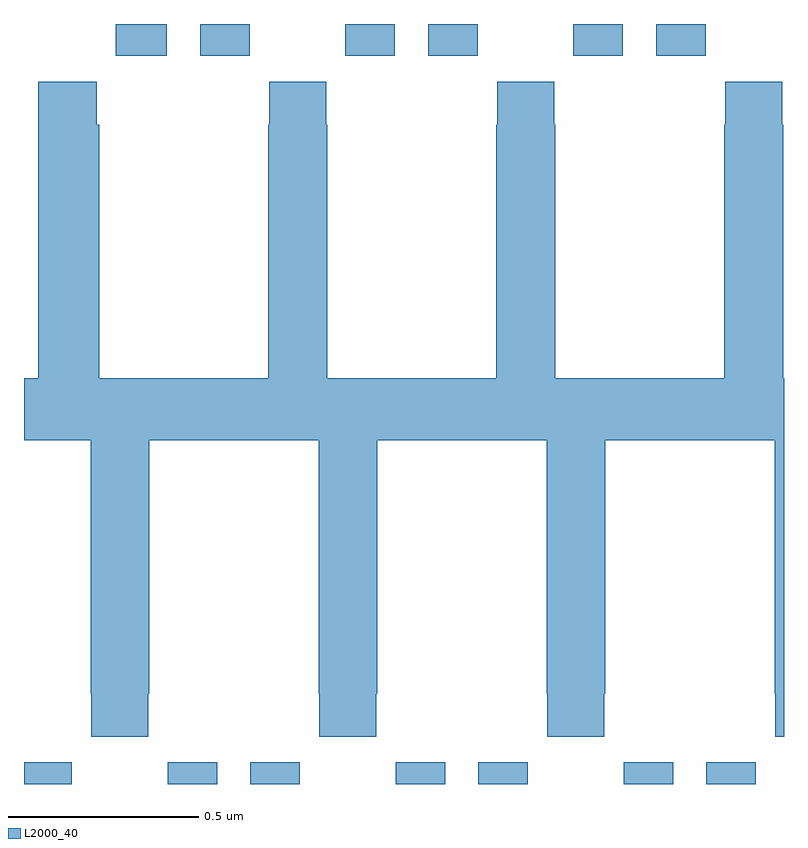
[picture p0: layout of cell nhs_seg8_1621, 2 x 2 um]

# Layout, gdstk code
import gdstk
lib = gdstk.Library(unit=1e-6, precision=1e-09)
def R(c, l, rs):  # rectangles x0, y0, x1, y1
    for r in rs: c.add(gdstk.rectangle(r[:2], r[2:], *l))
def P(c, l, *ps):  # polygons
    for p in ps: c.add(gdstk.Polygon(p, *l))
L2000_40 = (2000, 40)

nhs_seg8_1621 = lib.new_cell('nhs_seg8_1621')
R(nhs_seg8_1621, L2000_40, [(132,1144.9,132.126,1144.957), (132.378,1144.9,132.508,1144.957), (132.596,1144.9,132.726,1144.957), (132.978,1144.9,133.108,1144.957), (133.196,1144.9,133.326,1144.957), (133.578,1144.9,133.708,1144.957), (133.796,1144.9,133.926,1144.957), (132.242,1146.816,132.376,1146.9), (132.464,1146.816,132.594,1146.9), (132.846,1146.816,132.976,1146.9), (133.064,1146.816,133.194,1146.9), (133.446,1146.816,133.576,1146.9), (133.664,1146.816,133.794,1146.9)])
P(nhs_seg8_1621, L2000_40, [(132.327,1145.137),(132.33,1145.137),(132.33,1145.804),(132.775,1145.804),(132.775,1145.137),(132.777,1145.137),(132.777,1145.025),(132.927,1145.025),(132.927,1145.137),(132.93,1145.137),(132.93,1145.804),(133.375,1145.804),(133.375,1145.137),(133.377,1145.137),(133.377,1145.025),(133.527,1145.025),(133.527,1145.137),(133.53,1145.137),(133.53,1145.804),(133.975,1145.804),(133.975,1145.137),(133.977,1145.137),(133.977,1145.025),(134,1145.025),(134,1145.968),(133.998,1145.968),(133.998,1146.635),(133.995,1146.635),(133.995,1146.748),(133.845,1146.748),(133.845,1146.635),(133.843,1146.635),(133.843,1145.968),(133.398,1145.968),(133.398,1146.635),(133.395,1146.635),(133.395,1146.748),(133.245,1146.748),(133.245,1146.635),(133.243,1146.635),(133.243,1145.968),(132.798,1145.968),(132.798,1146.635),(132.795,1146.635),(132.795,1146.748),(132.645,1146.748),(132.645,1146.635),(132.643,1146.635),(132.643,1145.968),(132.198,1145.968),(132.198,1146.635),(132.191,1146.635),(132.191,1146.748),(132.038,1146.748),(132.038,1145.968),(132,1145.968),(132,1145.804),(132.175,1145.804),(132.175,1145.137),(132.177,1145.137),(132.177,1145.025),(132.327,1145.025)])

lib.write_gds('nhs_seg8_1621.gds')
